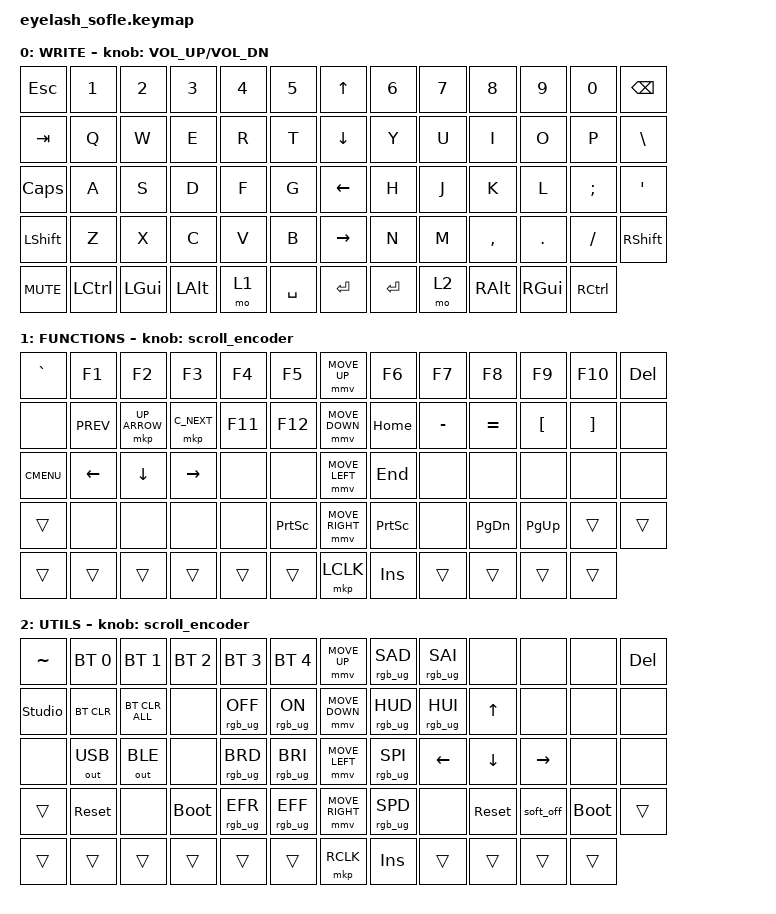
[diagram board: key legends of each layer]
#include <behaviors.dtsi>
#include <dt-bindings/zmk/bt.h>
#include <dt-bindings/zmk/keys.h>
#include <dt-bindings/zmk/mouse.h>
#include <dt-bindings/zmk/outputs.h>
#include <dt-bindings/zmk/rgb.h>

#include <input/processors.dtsi>

/*

   &mmv_input_listener {
       input-processors = <&zip_xy_scaler 2 1>;
   };

   &msc_input_listener {
       input-processors = <&zip_xy_scaler 2 1>;
   };

 */

#define ZMK_MOUSE_DEFAULT_MOVE_VAL 1200  // 600
#define ZMK_MOUSE_DEFAULT_SCRL_VAL 20    // 10


/ {
    behaviors {
        mmv {
            acceleration-exponent = <1>;      // 1
            time-to-max-speed-ms = <900>;    // 40
            delay-ms = <0>;                   // 0
        };

        msc {
            acceleration-exponent = <1>;      // 0
            time-to-max-speed-ms = <400>;      // 500
            delay-ms = <0>;                   //   10
        };
    };

    scroll_encoder: scroll_encoder {
        compatible = "zmk,behavior-sensor-rotate";
        #sensor-binding-cells = <0>;
        bindings = <&msc SCRL_DOWN>, <&msc SCRL_UP>;

        tap-ms = <30>;
    };

    keymap {
        compatible = "zmk,keymap";

        layer0 {
            bindings = <
&kp ESC         &kp N1         &kp N2          &kp N3           &kp N4          &kp N5            &kp UP_ARROW           &kp N6           &kp N7         &kp N8         &kp N9           &kp N0          &kp BACKSPACE
&kp TAB         &kp Q          &kp W           &kp E            &kp R           &kp T             &kp DOWN_ARROW         &kp Y            &kp U          &kp I          &kp O            &kp P           &kp BSLH
&kp CAPS        &kp A          &kp S           &kp D            &kp F           &kp G             &kp LEFT_ARROW         &kp H            &kp J          &kp K          &kp L            &kp SEMI        &kp APOS
&kp LSHFT       &kp Z          &kp X           &kp C            &kp V           &kp B             &kp RIGHT_ARROW        &kp N            &kp M          &kp COMMA      &kp DOT          &kp FSLH        &kp RSHIFT
&kp C_MUTE      &kp LCTRL      &kp LEFT_GUI    &kp LEFT_ALT     &mo 1           &kp SPACE         &kp ENTER              &kp ENTER        &mo 2          &kp RALT       &kp RIGHT_GUI    &kp RCTRL
            >;

            sensor-bindings = <&inc_dec_kp C_VOLUME_UP C_VOL_DN>;
            display-name = "WRITE";
        };

        layer_1 {
            bindings = <
&kp GRAVE       &kp F1          &kp F2          &kp F3           &kp F4         &kp F5             &mmv MOVE_UP          &kp F6           &kp F7         &kp F8         &kp F9           &kp F10           &kp DEL
&none           &kp C_PREV      &mkp UP_ARROW   &mkp C_NEXT      &kp F11        &kp F12            &mmv MOVE_DOWN        &kp HOME         &kp MINUS      &kp EQUAL      &kp LEFT_BRACKET &kp RIGHT_BRACKET &none
&kp K_CMENU     &kp LEFT_ARROW  &kp DOWN_ARROW  &kp RIGHT_ARROW  &none          &none              &mmv MOVE_LEFT        &kp END          &none          &none          &none            &none             &none
&trans          &none           &none           &none            &none          &kp PSCRN          &mmv MOVE_RIGHT       &kp PSCRN        &none          &kp PG_DN      &kp PG_UP        &trans            &trans
&trans          &trans          &trans          &trans           &trans         &trans             &mkp LCLK             &kp INS          &trans         &trans         &trans           &trans
            >;

            display-name = "FUNCTIONS";
            sensor-bindings = <&scroll_encoder>;
        };

        layer_2 {
            bindings = <
&kp TILDE       &bt BT_SEL 0    &bt BT_SEL 1    &bt BT_SEL 2    &bt BT_SEL 3    &bt BT_SEL 4       &mmv MOVE_UP          &rgb_ug RGB_SAD  &rgb_ug RGB_SAI &none          &none            &none            &kp DEL
&studio_unlock  &bt BT_CLR      &bt BT_CLR_ALL  &none           &rgb_ug RGB_OFF &rgb_ug RGB_ON     &mmv MOVE_DOWN        &rgb_ug RGB_HUD  &rgb_ug RGB_HUI &kp UP_ARROW   &none            &none            &none
&none           &out OUT_USB    &out OUT_BLE    &none           &rgb_ug RGB_BRD &rgb_ug RGB_BRI    &mmv MOVE_LEFT        &rgb_ug RGB_SPI  &kp LEFT_ARROW  &kp DOWN_ARROW &kp RIGHT_ARROW  &none            &none
&trans          &sys_reset      &none           &bootloader     &rgb_ug RGB_EFR &rgb_ug RGB_EFF    &mmv MOVE_RIGHT       &rgb_ug RGB_SPD  &none           &sys_reset     &soft_off        &bootloader      &trans
&trans          &trans          &trans          &trans          &trans          &trans             &mkp RCLK             &kp INS          &trans          &trans         &trans           &trans
            >;

            display-name = "UTILS";
            sensor-bindings = <&scroll_encoder>;
        };
    };
};
